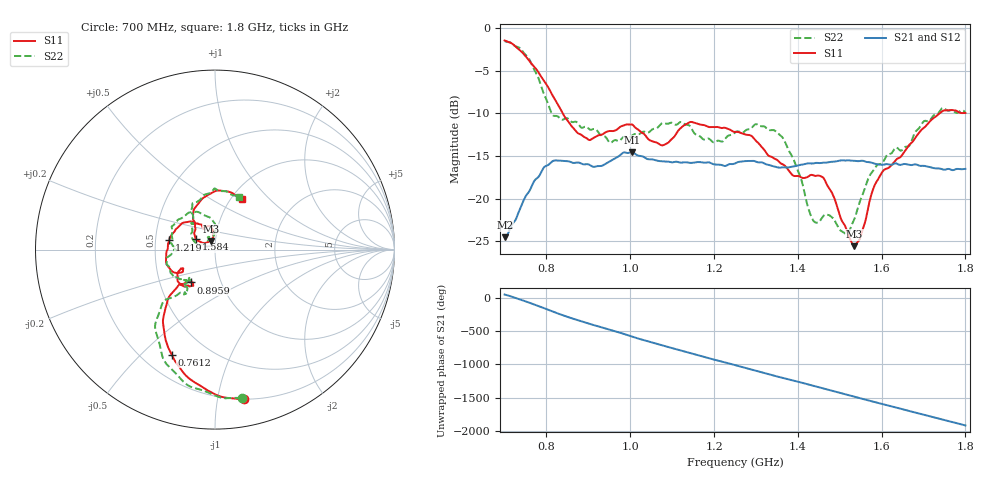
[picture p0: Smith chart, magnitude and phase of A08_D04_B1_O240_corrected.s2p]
! Created with skrf 1.9.0 (http://scikit-rf.org).
# Hz S RI R 50.0
!freq ReS11 ImS11 ReS21 ImS21 ReS12 ImS12 ReS22 ImS22
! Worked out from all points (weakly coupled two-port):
!   1601 points, 700 MHz to 1.8 GHz, reference 50 ohm
!   highest |S21| = -14.53 dB at 1.004 GHz (marker M1); lowest = -24.5 dB at 700.7 MHz (marker M2)
!   lowest |S11| = -25.6 dB at 1.535 GHz (marker M3), VSWR 1.11, Z = 47.6 + j4.54 ohm
!   |S11| at or under -10 dB: 838.9 MHz to 1.738 GHz (899.1 MHz wide, 69.8 % of centre)
!   |S22| runs from -24.2 to -1.5 dB; largest |S21 - S12| = 0.0035
!   S11 on the Smith chart (normalised r, x): 700 MHz: 0.20, -1.19; 761.2 MHz: 0.32, -0.62; 895.9 MHz: 0.72, -0.28; 1.219 GHz: 0.59, +0.07; 1.584 GHz: 0.80, +0.09; 1.8 GHz: 1.12, +0.70
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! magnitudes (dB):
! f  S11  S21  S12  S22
! 700 MHz  -1.4  -24.5  -24.3  -1.5
! 700.7 MHz  -1.4  -24.5  -24.2  -1.5
! 761.2 MHz  -4.0  -18.9  -18.8  -3.9
! 814.1 MHz  -7.9  -15.6  -15.7  -10.1
! 883.6 MHz  -12.5  -15.9  -15.8  -11.7
! 895.9 MHz  -12.9  -15.9  -16.0  -11.6
! 952.3 MHz  -12.1  -15.6  -15.6  -13.4
! 1.004 GHz  -11.3  -14.5  -14.7  -12.6
! 1.067 GHz  -13.5  -15.6  -15.5  -11.6
! 1.143 GHz  -11.0  -15.8  -15.8  -11.5
! 1.219 GHz  -11.7  -16.1  -16.1  -13.3
! 1.25 GHz  -12.2  -15.9  -15.8  -12.2
! 1.361 GHz  -15.9  -16.3  -16.3  -12.7
! 1.403 GHz  -17.4  -16.1  -16.1  -17.1
! 1.434 GHz  -17.2  -15.9  -15.8  -22.3
! 1.464 GHz  -17.8  -15.8  -15.8  -21.9
! 1.515 GHz  -23.5  -15.5  -15.5  -24.2
! 1.535 GHz  -25.6  -15.6  -15.6  -22.4
! 1.584 GHz  -18.3  -15.9  -15.9  -16.4
! 1.617 GHz  -16.4  -16.0  -15.9  -14.8
! 1.742 GHz  -9.8  -16.5  -16.5  -9.5
! 1.8 GHz  -9.9  -16.5  -16.5  -9.8
